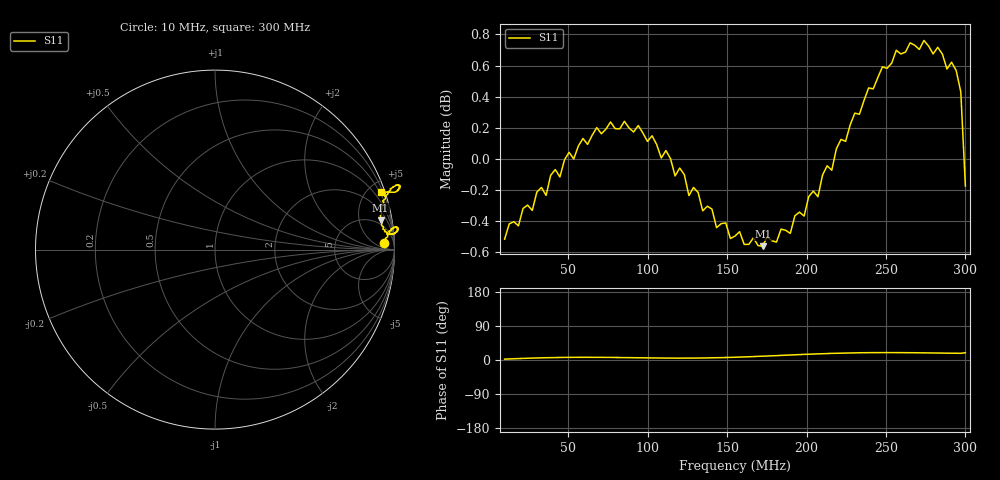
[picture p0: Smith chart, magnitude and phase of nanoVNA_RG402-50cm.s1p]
! File created by NanoVNA (https://gen111.taobao.com/)
! Start 10000000Hz  Stop 300000000Hz  Points 101
# HZ S MA R 50
!S - Parameter data, F S11
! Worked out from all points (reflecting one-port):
!   101 points, 10 MHz to 300 MHz, reference 50 ohm
!   lowest |S11| = -0.6 dB at 172.4 MHz (marker M1), VSWR 30.75, Z = 187 + j500 ohm
!   phase of S11 starts at 2 deg and turns +17 deg over the sweep
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1e7  0.9419 2.3
3.32e7  0.9788 5.7
3.61e7  0.973 6.0
3.9e7  0.9877 6.2
4.48e7  0.9864 6.7
4.77e7  0.9991 6.8
6.8e7  1.023 7.0
8.25e7  1.022 6.5
9.41e7  1.025 5.9
1.086e8  1 5.2
1.115e8  1.006 5.1
1.173e8  0.9872 4.9
1.202e8  0.993 4.9
1.26e8  0.9728 5.0
1.289e8  0.9788 5.1
1.434e8  0.95 6.0
1.55e8  0.9441 7.2
1.724e8  0.937 10.0
1.898e8  0.9459 13.2
1.927e8  0.9585 13.7
2.072e8  0.9721 16.2
2.275e8  1.025 18.6
2.478e8  1.07 19.6
2.652e8  1.09 19.2
2.826e8  1.086 18.4
2.942e8  1.068 17.8
2.971e8  1.051 17.7
3e8  0.9797 19.1
